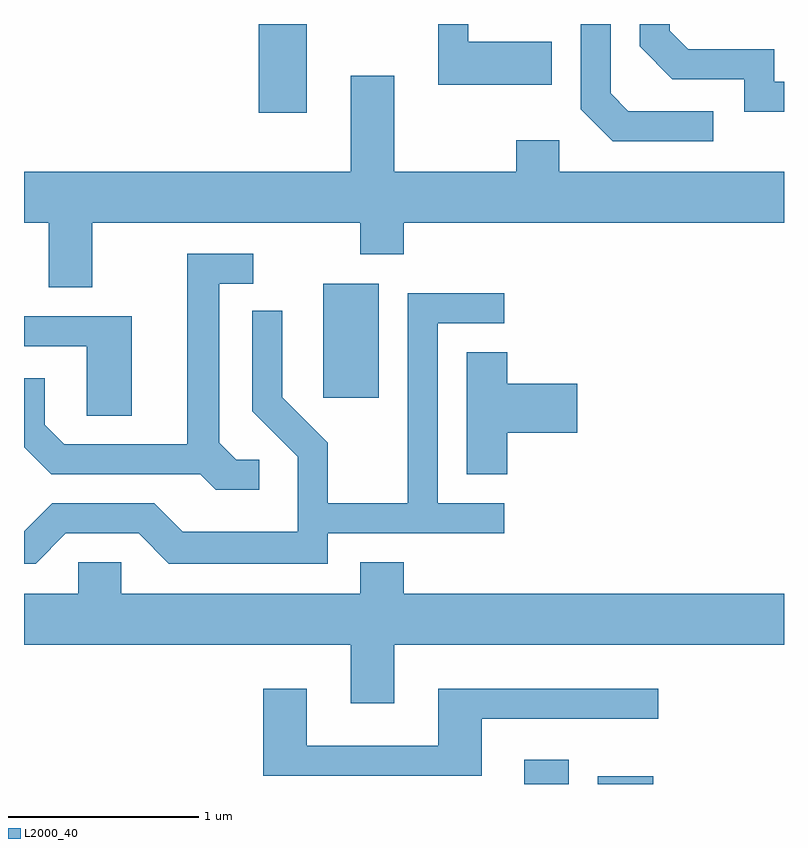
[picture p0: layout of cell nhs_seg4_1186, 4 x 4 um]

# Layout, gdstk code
import gdstk
lib = gdstk.Library(unit=1e-6, precision=1e-09)
def R(c, l, rs):  # rectangles x0, y0, x1, y1
    for r in rs: c.add(gdstk.rectangle(r[:2], r[2:], *l))
def P(c, l, *ps):  # polygons
    for p in ps: c.add(gdstk.Polygon(p, *l))
L2000_40 = (2000, 40)

nhs_seg4_1186 = lib.new_cell('nhs_seg4_1186')
R(nhs_seg4_1186, L2000_40, [(222.243,1313.982,222.479,1314.109), (222.631,1313.982,222.924,1314.024), (221.186,1316.016,221.479,1316.614), (220.846,1317.516,221.099,1317.982)])
P(nhs_seg4_1186, L2000_40, [(223.611,1317.679),(223.559,1317.679),(223.559,1317.849),(223.107,1317.849),(223.009,1317.947),(223.009,1317.982),(222.851,1317.982),(222.851,1317.864),(223.024,1317.691),(223.401,1317.691),(223.401,1317.521),(223.611,1317.521)],
  [(222.389,1317.889),(221.949,1317.889),(221.949,1317.982),(221.791,1317.982),(221.791,1317.661),(222.389,1317.661)],
  [(223.238,1317.524),(222.792,1317.524),(222.699,1317.617),(222.699,1317.982),(222.541,1317.982),(222.541,1317.534),(222.709,1317.366),(223.238,1317.366)],
  [(219.969,1316.936),(221.381,1316.936),(221.381,1316.771),(221.609,1316.771),(221.609,1316.936),(223.611,1316.936),(223.611,1317.204),(222.429,1317.204),(222.429,1317.369),(222.201,1317.369),(222.201,1317.204),(221.559,1317.204),(221.559,1317.709),(221.331,1317.709),(221.331,1317.204),(219.611,1317.204),(219.611,1316.936),(219.741,1316.936),(219.741,1316.596),(219.969,1316.596)],
  [(220.848,1315.689),(220.727,1315.689),(220.639,1315.777),(220.639,1316.616),(220.818,1316.616),(220.818,1316.774),(220.471,1316.774),(220.471,1315.769),(219.822,1315.769),(219.719,1315.872),(219.719,1316.118),(219.611,1316.118),(219.611,1315.754),(219.754,1315.611),(220.539,1315.611),(220.619,1315.531),(220.848,1315.531)],
  [(219.832,1315.301),(220.214,1315.301),(220.374,1315.141),(221.209,1315.141),(221.209,1315.301),(222.138,1315.301),(222.138,1315.459),(221.789,1315.459),(221.789,1316.406),(222.138,1316.406),(222.138,1316.564),(221.631,1316.564),(221.631,1315.459),(221.209,1315.459),(221.209,1315.777),(220.969,1316.017),(220.969,1316.473),(220.811,1316.473),(220.811,1315.944),(221.051,1315.704),(221.051,1315.309),(220.447,1315.309),(220.297,1315.459),(219.759,1315.459),(219.611,1315.311),(219.611,1315.141),(219.672,1315.141)],
  [(220.179,1316.444),(219.611,1316.444),(219.611,1316.286),(219.941,1316.286),(219.941,1315.921),(220.179,1315.921)],
  [(222.154,1315.831),(222.524,1315.831),(222.524,1316.089),(222.154,1316.089),(222.154,1316.254),(221.941,1316.254),(221.941,1315.611),(222.154,1315.611)],
  [(221.559,1314.716),(223.611,1314.716),(223.611,1314.984),(221.609,1314.984),(221.609,1315.149),(221.381,1315.149),(221.381,1314.984),(220.124,1314.984),(220.124,1315.149),(219.896,1315.149),(219.896,1314.984),(219.611,1314.984),(219.611,1314.716),(221.331,1314.716),(221.331,1314.406),(221.559,1314.406)],
  [(222.019,1314.326),(222.948,1314.326),(222.948,1314.484),(221.791,1314.484),(221.791,1314.184),(221.099,1314.184),(221.099,1314.484),(220.871,1314.484),(220.871,1314.026),(222.019,1314.026)])

lib.write_gds('nhs_seg4_1186.gds')
